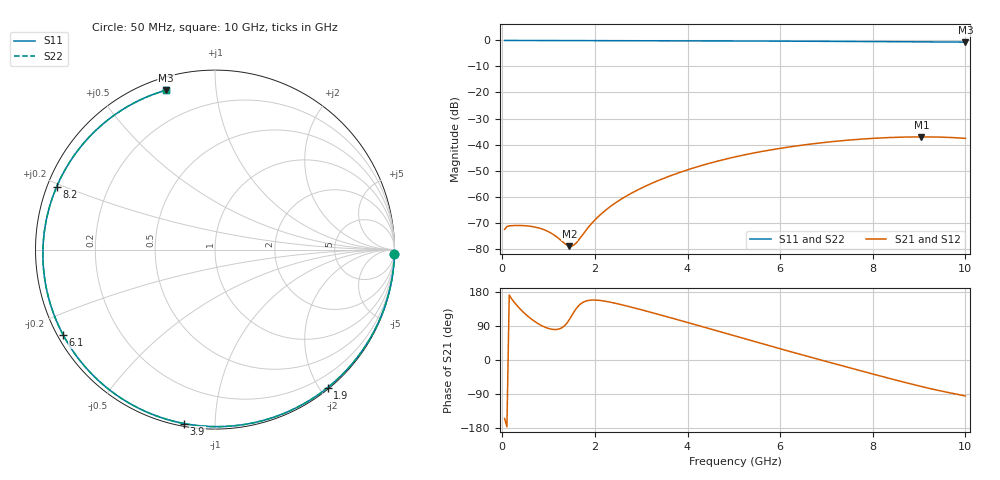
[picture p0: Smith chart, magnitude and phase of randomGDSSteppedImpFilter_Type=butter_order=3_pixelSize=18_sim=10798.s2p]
! freq	dB(S11)	phase(S11)	dB(S12)	phase(S12)
!  dB(S21)	phase(S21)	dB(S22)	phase(S22)
!S-par simulation data
#  GHz  S  DB  R 50
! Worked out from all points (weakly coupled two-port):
!   200 points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, 50 MHz to 10 GHz, reference 50 ohm
!   highest |S21| = -37.07 dB at 9.05 GHz (marker M1); lowest = -79.1 dB at 1.45 GHz (marker M2)
!   lowest |S11| = -0.6 dB at 10 GHz (marker M3), VSWR 27.20, Z = 2.84 + j36.9 ohm
!   |S11| at or under -10 dB: nowhere
!   |S22| runs from -0.6 to 0.0 dB; largest |S21 - S12| = 0
!   S11 on the Smith chart (normalised r, x): 50 MHz: 0, -84; 1.9 GHz: 0.02, -2.11; 3.9 GHz: 0.01, -0.84; 6.1 GHz: 0.02, -0.26; 8.2 GHz: 0.03, +0.19; 10 GHz: 0.06, +0.74
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0.05  -0.00 -1.4  -72.61 -154.3  -72.61 -154.3  -0.00 -1.4
0.1  -0.00 -2.7  -71.53 -176.0  -71.53 -176.0  -0.00 -2.7
0.2  -0.00 -5.5  -71.20 161.8  -71.20 161.8  -0.00 -5.5
0.75  -0.02 -20.4  -71.90 97.7  -71.90 97.7  -0.02 -20.4
1.05  -0.03 -28.5  -74.02 81.7  -74.02 81.7  -0.03 -28.5
1.45  -0.05 -39.1  -79.08 107.1  -79.08 107.1  -0.05 -39.1
1.55  -0.05 -41.7  -78.59 127.3  -78.59 127.3  -0.05 -41.7
1.75  -0.06 -46.9  -74.28 152.7  -74.28 152.7  -0.06 -46.9
1.9  -0.06 -50.8  -70.93 157.9  -70.93 157.9  -0.06 -50.8
2.15  -0.07 -57.2  -66.45 156.5  -66.45 156.5  -0.07 -57.2
2.5  -0.08 -66.0  -61.77 148.1  -61.77 148.1  -0.08 -66.1
2.9  -0.10 -76.0  -57.67 135.9  -57.67 135.9  -0.10 -76.0
3.4  -0.12 -88.2  -53.61 119.5  -53.61 119.5  -0.12 -88.2
3.9  -0.14 -100.1  -50.32 102.5  -50.32 102.5  -0.14 -100.1
5.05  -0.19 -126.7  -44.67 62.4  -44.67 62.4  -0.19 -126.7
6.1  -0.26 -150.7  -41.20 26.2  -41.20 26.2  -0.26 -150.8
6.7  -0.31 -164.7  -39.74 6.0  -39.74 6.0  -0.31 -164.7
7.45  -0.38 177.3  -38.35 -18.9  -38.35 -18.9  -0.38 177.3
8.2  -0.45 158.4  -37.45 -43.5  -37.45 -43.5  -0.45 158.3
8.35  -0.47 154.4  -37.33 -48.3  -37.33 -48.3  -0.47 154.4
9.05  -0.54 135.3  -37.07 -70.0  -37.07 -70.0  -0.54 135.2
10  -0.64 107.1  -37.64 -94.9  -37.64 -94.9  -0.64 107.0
